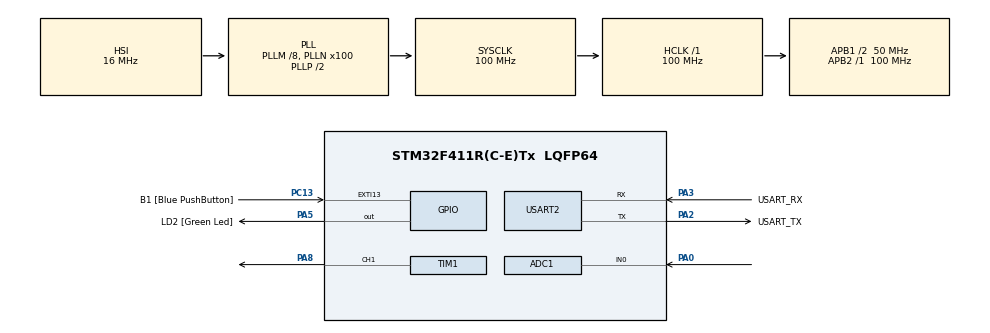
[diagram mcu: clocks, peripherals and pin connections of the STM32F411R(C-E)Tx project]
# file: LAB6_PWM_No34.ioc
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Mcu.Family=STM32F4
RCC.CortexFreq_Value=100000000
PA14.GPIO_Label=TCK
RCC.SYSCLKSource=RCC_SYSCLKSOURCE_PLLCLK
ProjectManager.StackSize=0x400
NVIC.ADC_IRQn=true\:0\:0\:false\:false\:true\:true\:true
PH0\ -\ OSC_IN.Signal=RCC_OSC_IN
RCC.HCLKFreq_Value=100000000
RCC.APB2TimFreq_Value=100000000
TIM3.Period=1000
RCC.AHBFreq_Value=100000000
NVIC.TIM1_TRG_COM_TIM11_IRQn=true\:0\:0\:false\:false\:true\:true\:true
RCC.HSE_VALUE=8000000
PC13-ANTI_TAMP.Signal=GPXTI13
PC14-OSC32_IN.Mode=LSE-External-Oscillator
TIM1.Channel-PWM\ Generation1\ CH1=TIM_CHANNEL_1
PA14.Mode=Serial_Wire
TIM3.Prescaler=99
PA8.Signal=S_TIM1_CH1
SH.ADCx_IN0.0=ADC1_IN0,IN0
VP_TIM1_VS_ClockSourceINT.Mode=Internal
RCC.FLatency-AdvancedSettings=FLASH_LATENCY_3
Mcu.Package=LQFP64
USART2.VirtualMode=VM_ASYNC
PA2.GPIO_Label=USART_TX
RCC.APB1TimFreq_Value=100000000
TIM1.Period=10000
VP_TIM3_VS_ClockSourceINT.Mode=Internal
PA3.Signal=USART2_RX
PB3.GPIO_Label=SWO
PC15-OSC32_OUT.Mode=LSE-External-Oscillator
PC13-ANTI_TAMP.GPIO_Label=B1 [Blue PushButton]
PH1\ -\ OSC_OUT.Mode=HSE-External-Clock-Source
TIM11.Prescaler=99
RCC.APB1CLKDivider=RCC_HCLK_DIV2
PC14-OSC32_IN.Signal=RCC_OSC32_IN
PA0-WKUP.Signal=ADCx_IN0
VP_TIM11_VS_ClockSourceINT.Mode=Enable_Timer
PA13.Signal=SYS_JTMS-SWDIO
PA3.Mode=Asynchronous
PH0\ -\ OSC_IN.Mode=HSE-External-Clock-Source
SH.S_TIM1_CH1.0=TIM1_CH1,PWM Generation1 CH1
ProjectManager.TargetToolchain=STM32CubeIDE
ADC1.Channel-1\#ChannelRegularConversion=ADC_CHANNEL_0
PC15-OSC32_OUT.Signal=RCC_OSC32_OUT
PA5.Signal=GPIO_Output
PH1\ -\ OSC_OUT.Signal=RCC_OSC_OUT
board=NUCLEO-F411RE
RCC.VCOOutputFreq_Value=200000000
NVIC.TIM3_IRQn=true\:0\:0\:false\:false\:true\:true\:true
RCC.APB2Freq_Value=100000000
PA13.Mode=Serial_Wire
Mcu.Name=STM32F411R(C-E)Tx
PA13.GPIO_Label=TMS
PA2.Signal=USART2_TX
ADC1.ExternalTrigConv=ADC_EXTERNALTRIGCONV_T3_TRGO
RCC.48MHZClocksFreq_Value=50000000
PB3.Signal=SYS_JTDO-SWO
ADC1.SamplingTime-1\#ChannelRegularConversion=ADC_SAMPLETIME_480CYCLES
RCC.SYSCLKFreq_VALUE=100000000
ADC1.master=1
PA5.GPIO_Label=LD2 [Green Led]
ADC1.Rank-1\#ChannelRegularConversion=1
PC13-ANTI_TAMP.GPIO_ModeDefaultEXTI=GPIO_MODE_IT_FALLING
PA14.Signal=SYS_JTCK-SWCLK
ProjectManager.HeapSize=0x200
RCC.HSI_VALUE=16000000
NVIC.PriorityGroup=NVIC_PRIORITYGROUP_0
ADC1.NbrOfConversionFlag=1
RCC.PLLM=8
RCC.PLLN=100
PA2.Mode=Asynchronous
TIM3.TIM_MasterOutputTrigger=TIM_TRGO_UPDATE
RCC.APB1Freq_Value=50000000
PA3.GPIO_Label=USART_RX

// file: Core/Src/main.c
/* USER CODE BEGIN Header */
/**
  ******************************************************************************
  * @file           : main.c
  * @brief          : Main program body
  ******************************************************************************
  * @attention
  *
  * <h2><center>&copy; Copyright (c) 2021 STMicroelectronics.
  * All rights reserved.</center></h2>
  *
  * This software component is licensed by ST under BSD 3-Clause license,
  * the "License"; You may not use this file except in compliance with the
  * License. You may obtain a copy of the License at:
  *                        opensource.org/licenses/BSD-3-Clause
  *
  ******************************************************************************
  */
/* USER CODE END Header */
#include "main.h"

ADC_HandleTypeDef hadc1;

TIM_HandleTypeDef htim1;
TIM_HandleTypeDef htim3;
TIM_HandleTypeDef htim11;

UART_HandleTypeDef huart2;

/* USER CODE BEGIN PV */
uint16_t ADCFeedback = 0;

uint64_t _micros = 0;

uint64_t TimeOutputLoop = 0;

uint16_t PWMOut = 5000;
//PID
int16_t error = 0;
float Kp=1;
int16_t Error_Kp = 0;
/* USER CODE END PV */

void SystemClock_Config(void);
static void MX_GPIO_Init(void);
static void MX_USART2_UART_Init(void);
static void MX_ADC1_Init(void);
static void MX_TIM3_Init(void);
static void MX_TIM11_Init(void);
static void MX_TIM1_Init(void);
/* USER CODE BEGIN PFP */
uint64_t micros();
/* USER CODE END PFP */

int main(void)
{

  /* MCU Configuration--------------------------------------------------------*/

  /* Reset of all peripherals, Initializes the Flash interface and the Systick. */
  HAL_Init();

  /* Configure the system clock */
  SystemClock_Config();

  /* Initialize all configured peripherals */
  MX_GPIO_Init();
  MX_USART2_UART_Init();
  MX_ADC1_Init();
  MX_TIM3_Init();
  MX_TIM11_Init();
  MX_TIM1_Init();
  /* USER CODE BEGIN 2 */
  //ADC Start
  HAL_ADC_Start_IT(&hadc1);
  HAL_TIM_Base_Start(&htim3);
  //Timer Start
  HAL_TIM_Base_Start_IT(&htim11);
  //PWM
  HAL_TIM_Base_Start(&htim1);
  HAL_TIM_PWM_Start(&htim1, TIM_CHANNEL_1);
  /* USER CODE END 2 */

  /* Infinite loop */
  while (1)
  {

    /* USER CODE BEGIN 3 */
	  //HAL_ADC_GetValue(&hadc1);
	  if(micros() - TimeOutputLoop >= 1000) //us
	  	{
	  		TimeOutputLoop = micros();

	  		error = 1241 - ADCFeedback; //set point - feedback

	  		Error_Kp = Kp*error;

	  		PWMOut += Error_Kp;

	  		__HAL_TIM_SET_COMPARE(&htim1,TIM_CHANNEL_1, PWMOut); //Period = 10000 (set much as possible because resolution of compare value ->0.0001 that means resolution of PWM)
	  	}
  }
  /* USER CODE END 3 */
}

void SystemClock_Config(void)
{
  RCC_OscInitTypeDef RCC_OscInitStruct = {0};
  RCC_ClkInitTypeDef RCC_ClkInitStruct = {0};

  /** Configure the main internal regulator output voltage
  */
  __HAL_RCC_PWR_CLK_ENABLE();
  __HAL_PWR_VOLTAGESCALING_CONFIG(PWR_REGULATOR_VOLTAGE_SCALE1);
  /** Initializes the RCC Oscillators according to the specified parameters
  * in the RCC_OscInitTypeDef structure.
  */
  RCC_OscInitStruct.OscillatorType = RCC_OSCILLATORTYPE_HSI;
  RCC_OscInitStruct.HSIState = RCC_HSI_ON;
  RCC_OscInitStruct.HSICalibrationValue = RCC_HSICALIBRATION_DEFAULT;
  RCC_OscInitStruct.PLL.PLLState = RCC_PLL_ON;
  RCC_OscInitStruct.PLL.PLLSource = RCC_PLLSOURCE_HSI;
  RCC_OscInitStruct.PLL.PLLM = 8;
  RCC_OscInitStruct.PLL.PLLN = 100;
  RCC_OscInitStruct.PLL.PLLP = RCC_PLLP_DIV2;
  RCC_OscInitStruct.PLL.PLLQ = 4;
  if (HAL_RCC_OscConfig(&RCC_OscInitStruct) != HAL_OK)
  {
    Error_Handler();
  }
  /** Initializes the CPU, AHB and APB buses clocks
  */
  RCC_ClkInitStruct.ClockType = RCC_CLOCKTYPE_HCLK|RCC_CLOCKTYPE_SYSCLK
                              |RCC_CLOCKTYPE_PCLK1|RCC_CLOCKTYPE_PCLK2;
  RCC_ClkInitStruct.SYSCLKSource = RCC_SYSCLKSOURCE_PLLCLK;
  RCC_ClkInitStruct.AHBCLKDivider = RCC_SYSCLK_DIV1;
  RCC_ClkInitStruct.APB1CLKDivider = RCC_HCLK_DIV2;
  RCC_ClkInitStruct.APB2CLKDivider = RCC_HCLK_DIV1;

  if (HAL_RCC_ClockConfig(&RCC_ClkInitStruct, FLASH_LATENCY_3) != HAL_OK)
  {
    Error_Handler();
  }
}

static void MX_ADC1_Init(void)
{

  ADC_ChannelConfTypeDef sConfig = {0};

  /** Configure the global features of the ADC (Clock, Resolution, Data Alignment and number of conversion)
  */
  hadc1.Instance = ADC1;
  hadc1.Init.ClockPrescaler = ADC_CLOCK_SYNC_PCLK_DIV4;
  hadc1.Init.Resolution = ADC_RESOLUTION_12B;
  hadc1.Init.ScanConvMode = DISABLE;
  hadc1.Init.ContinuousConvMode = DISABLE;
  hadc1.Init.DiscontinuousConvMode = DISABLE;
  hadc1.Init.ExternalTrigConvEdge = ADC_EXTERNALTRIGCONVEDGE_RISING;
  hadc1.Init.ExternalTrigConv = ADC_EXTERNALTRIGCONV_T3_TRGO;
  hadc1.Init.DataAlign = ADC_DATAALIGN_RIGHT;
  hadc1.Init.NbrOfConversion = 1;
  hadc1.Init.DMAContinuousRequests = DISABLE;
  hadc1.Init.EOCSelection = ADC_EOC_SINGLE_CONV;
  if (HAL_ADC_Init(&hadc1) != HAL_OK)
  {
    Error_Handler();
  }
  /** Configure for the selected ADC regular channel its corresponding rank in the sequencer and its sample time.
  */
  sConfig.Channel = ADC_CHANNEL_0;
  sConfig.Rank = 1;
  sConfig.SamplingTime = ADC_SAMPLETIME_480CYCLES;
  if (HAL_ADC_ConfigChannel(&hadc1, &sConfig) != HAL_OK)
  {
    Error_Handler();
  }

}

static void MX_TIM1_Init(void)
{

  TIM_ClockConfigTypeDef sClockSourceConfig = {0};
  TIM_MasterConfigTypeDef sMasterConfig = {0};
  TIM_OC_InitTypeDef sConfigOC = {0};
  TIM_BreakDeadTimeConfigTypeDef sBreakDeadTimeConfig = {0};

  htim1.Instance = TIM1;
  htim1.Init.Prescaler = 0;
  htim1.Init.CounterMode = TIM_COUNTERMODE_UP;
  htim1.Init.Period = 10000;
  htim1.Init.ClockDivision = TIM_CLOCKDIVISION_DIV1;
  htim1.Init.RepetitionCounter = 0;
  htim1.Init.AutoReloadPreload = TIM_AUTORELOAD_PRELOAD_DISABLE;
  if (HAL_TIM_Base_Init(&htim1) != HAL_OK)
  {
    Error_Handler();
  }
  sClockSourceConfig.ClockSource = TIM_CLOCKSOURCE_INTERNAL;
  if (HAL_TIM_ConfigClockSource(&htim1, &sClockSourceConfig) != HAL_OK)
  {
    Error_Handler();
  }
  if (HAL_TIM_PWM_Init(&htim1) != HAL_OK)
  {
    Error_Handler();
  }
  sMasterConfig.MasterOutputTrigger = TIM_TRGO_RESET;
  sMasterConfig.MasterSlaveMode = TIM_MASTERSLAVEMODE_DISABLE;
  if (HAL_TIMEx_MasterConfigSynchronization(&htim1, &sMasterConfig) != HAL_OK)
  {
    Error_Handler();
  }
  sConfigOC.OCMode = TIM_OCMODE_PWM1;
  sConfigOC.Pulse = 0;
  sConfigOC.OCPolarity = TIM_OCPOLARITY_HIGH;
  sConfigOC.OCNPolarity = TIM_OCNPOLARITY_HIGH;
  sConfigOC.OCFastMode = TIM_OCFAST_DISABLE;
  sConfigOC.OCIdleState = TIM_OCIDLESTATE_RESET;
  sConfigOC.OCNIdleState = TIM_OCNIDLESTATE_RESET;
  if (HAL_TIM_PWM_ConfigChannel(&htim1, &sConfigOC, TIM_CHANNEL_1) != HAL_OK)
  {
    Error_Handler();
  }
  sBreakDeadTimeConfig.OffStateRunMode = TIM_OSSR_DISABLE;
  sBreakDeadTimeConfig.OffStateIDLEMode = TIM_OSSI_DISABLE;
  sBreakDeadTimeConfig.LockLevel = TIM_LOCKLEVEL_OFF;
  sBreakDeadTimeConfig.DeadTime = 0;
  sBreakDeadTimeConfig.BreakState = TIM_BREAK_DISABLE;
  sBreakDeadTimeConfig.BreakPolarity = TIM_BREAKPOLARITY_HIGH;
  sBreakDeadTimeConfig.AutomaticOutput = TIM_AUTOMATICOUTPUT_DISABLE;
  if (HAL_TIMEx_ConfigBreakDeadTime(&htim1, &sBreakDeadTimeConfig) != HAL_OK)
  {
    Error_Handler();
  }
  HAL_TIM_MspPostInit(&htim1);

}

static void MX_TIM3_Init(void)
{

  TIM_ClockConfigTypeDef sClockSourceConfig = {0};
  TIM_MasterConfigTypeDef sMasterConfig = {0};

  htim3.Instance = TIM3;
  htim3.Init.Prescaler = 99;
  htim3.Init.CounterMode = TIM_COUNTERMODE_UP;
  htim3.Init.Period = 1000;
  htim3.Init.ClockDivision = TIM_CLOCKDIVISION_DIV1;
  htim3.Init.AutoReloadPreload = TIM_AUTORELOAD_PRELOAD_DISABLE;
  if (HAL_TIM_Base_Init(&htim3) != HAL_OK)
  {
    Error_Handler();
  }
  sClockSourceConfig.ClockSource = TIM_CLOCKSOURCE_INTERNAL;
  if (HAL_TIM_ConfigClockSource(&htim3, &sClockSourceConfig) != HAL_OK)
  {
    Error_Handler();
  }
  sMasterConfig.MasterOutputTrigger = TIM_TRGO_UPDATE;
  sMasterConfig.MasterSlaveMode = TIM_MASTERSLAVEMODE_DISABLE;
  if (HAL_TIMEx_MasterConfigSynchronization(&htim3, &sMasterConfig) != HAL_OK)
  {
    Error_Handler();
  }

}

static void MX_TIM11_Init(void)
{

  htim11.Instance = TIM11;
  htim11.Init.Prescaler = 99;
  htim11.Init.CounterMode = TIM_COUNTERMODE_UP;
  htim11.Init.Period = 65535;
  htim11.Init.ClockDivision = TIM_CLOCKDIVISION_DIV1;
  htim11.Init.AutoReloadPreload = TIM_AUTORELOAD_PRELOAD_DISABLE;
  if (HAL_TIM_Base_Init(&htim11) != HAL_OK)
  {
    Error_Handler();
  }

}

static void MX_USART2_UART_Init(void)
{

  huart2.Instance = USART2;
  huart2.Init.BaudRate = 115200;
  huart2.Init.WordLength = UART_WORDLENGTH_8B;
  huart2.Init.StopBits = UART_STOPBITS_1;
  huart2.Init.Parity = UART_PARITY_NONE;
  huart2.Init.Mode = UART_MODE_TX_RX;
  huart2.Init.HwFlowCtl = UART_HWCONTROL_NONE;
  huart2.Init.OverSampling = UART_OVERSAMPLING_16;
  if (HAL_UART_Init(&huart2) != HAL_OK)
  {
    Error_Handler();
  }

}

static void MX_GPIO_Init(void)
{
  GPIO_InitTypeDef GPIO_InitStruct = {0};

  /* GPIO Ports Clock Enable */
  __HAL_RCC_GPIOC_CLK_ENABLE();
  __HAL_RCC_GPIOH_CLK_ENABLE();
  __HAL_RCC_GPIOA_CLK_ENABLE();
  __HAL_RCC_GPIOB_CLK_ENABLE();

  /*Configure GPIO pin Output Level */
  HAL_GPIO_WritePin(LD2_GPIO_Port, LD2_Pin, GPIO_PIN_RESET);

  /*Configure GPIO pin : B1_Pin */
  GPIO_InitStruct.Pin = B1_Pin;
  GPIO_InitStruct.Mode = GPIO_MODE_IT_FALLING;
  GPIO_InitStruct.Pull = GPIO_NOPULL;
  HAL_GPIO_Init(B1_GPIO_Port, &GPIO_InitStruct);

  /*Configure GPIO pin : LD2_Pin */
  GPIO_InitStruct.Pin = LD2_Pin;
  GPIO_InitStruct.Mode = GPIO_MODE_OUTPUT_PP;
  GPIO_InitStruct.Pull = GPIO_NOPULL;
  GPIO_InitStruct.Speed = GPIO_SPEED_FREQ_LOW;
  HAL_GPIO_Init(LD2_GPIO_Port, &GPIO_InitStruct);

}

/* USER CODE BEGIN 4 */
void HAL_ADC_ConvCpltCallback(ADC_HandleTypeDef* hadc)
{
	ADCFeedback = HAL_ADC_GetValue(&hadc1);
}

void HAL_TIM_PeriodElapsedCallback(TIM_HandleTypeDef *htim)
{
	if(htim == &htim11)
	{
		_micros += 65535;
	}
}

__inline__ uint64_t micros()
{
	return _micros + htim11.Instance->CNT;
}

/* USER CODE END 4 */

void Error_Handler(void)
{
  __disable_irq();
  while (1)
  {
  }
}

/************************ (C) COPYRIGHT STMicroelectronics *****END OF FILE****/
